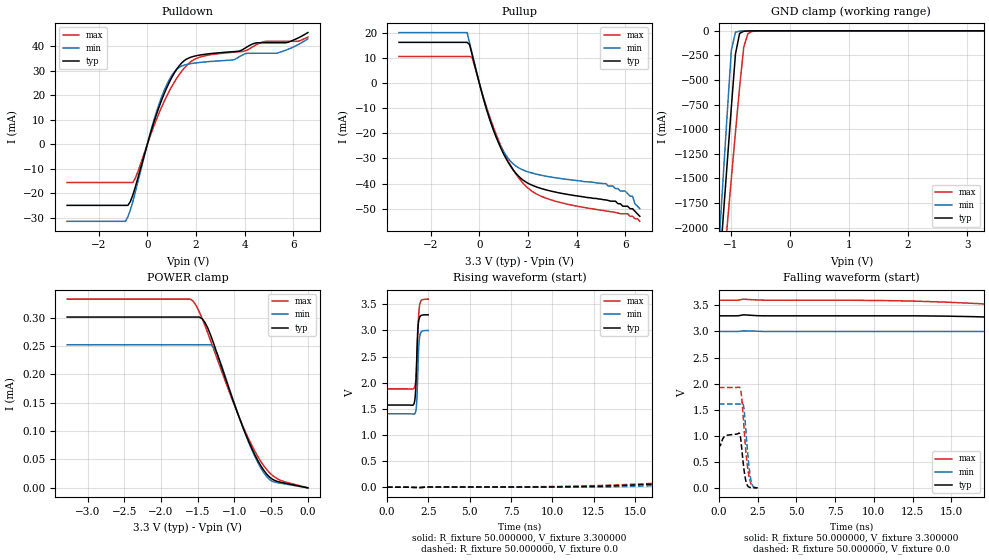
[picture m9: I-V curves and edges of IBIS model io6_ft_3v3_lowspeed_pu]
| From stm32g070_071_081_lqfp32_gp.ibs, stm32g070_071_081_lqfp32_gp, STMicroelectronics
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|   Model io6_ft_3v3_lowspeed_pu
[Model]  io6_ft_3v3_lowspeed_pu
Model_type I/O
Polarity   Non-Inverting
Enable   Active-Low
Vinl =   0.990000V
Vinh =   2.310000V
Vmeas =  1.650000V
Cref =   40.000000pF
Rref =   100.000000M
Vref =   0.0V
C_comp   1.290400pF   1.272500pF   1.305600pF
[Temperature Range]   25.000000   -40.000000   0.125000k
[Pullup Reference]   3.300000V   3.000000V   3.600000V
[Pulldown Reference]   0.0V   0.0V   0.0V
[POWER Clamp Reference]   3.300000V   3.000000V   3.600000V
[GND Clamp Reference]   0.0V   0.0V   0.0V
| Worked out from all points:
|   slope of the pulldown table from 0 to 0.495 V, typ, clamps not added: 31.8 ohm
|   slope of the pullup table from 0 to 0.495 V, typ, clamps not added: 30.4 ohm
|   GND clamp passes 1 mA (typ) near -0.65 V on its own axis
|   rising waveform, R_fixture 50.000000, V_fixture 3.300000: 20-80 % time 114ps typ, 109ps min, 129ps max; typ from 1.57 V to 3.3 V
|   rising waveform, R_fixture 50.000000, V_fixture 0.0: 20-80 % time 45.7ns typ, 40.3ns min, 56.9ns max; typ from 0.002 V to 1.8 V
|   falling waveform, R_fixture 50.000000, V_fixture 3.300000: 20-80 % time 40.8ns typ, 40.4ns min, 43.6ns max; typ from 3.3 V to 1.57 V
|   falling waveform, R_fixture 50.000000, V_fixture 0.0: 20-80 % time 1.61ns typ, 288ps min, 331ps max; typ from 1.8 V to 0.002 V
[Pulldown]
|Voltage   I(typ)   I(min)   I(max)
-3.3V     -25.03mA   -31.54mA   -15.7mA
-900mV    -25.03mA   -31.54mA   -15.7mA
-700mV    -23.48mA   -26.95mA   -15.7mA
-500mV    -17.69mA   -19.75mA   -14.07mA
100mV     3.479mA    3.853mA    2.862mA
500mV     15.71mA    16.96mA    13.17mA
900mV     25.22mA    26.33mA    21.66mA
1.3V      31.91mA    31.32mA    28.29mA
2.2V      36.48mA    33.43mA    35.69mA
4.1V      39.76mA    37.15mA    38.42mA
5.3V      41.43mA    37.15mA    42.02mA
6.6V      45.6mA     43.04mA    43.74mA
[Pullup]
|Voltage   I(typ)   I(min)   I(max)
-3.3V     16.16mA    20.05mA    10.53mA
-500mV    16.16mA    20.05mA    10.53mA
-400mV    15.28mA    16.06mA    10.53mA
-300mV    11.46mA    11.98mA    10.27mA
400mV     -13.51mA   -13.75mA   -12.62mA
800mV     -24.01mA   -23.65mA   -23mA
1.3V      -33.26mA   -31.25mA   -32.99mA
1.9V      -39.28mA   -34.97mA   -40.88mA
2.6V      -42.11mA   -36.79mA   -45.26mA
5.2V      -46.5mA    -40mA      -50.9mA
6.3V      -50mA      -45mA      -53mA
6.6V      -53mA      -50mA      -55mA
[GND_clamp]
|Voltage   I(typ)   I(min)   I(max)
-3.3V     -9.61A     -9.635A    -9.699A
-1.2V     -2.493A    -2.184A    -2.958A
-1.13V    -1.917A    -1.512A    -2.469A
-1.06V    -1.345A    -845.6mA   -1.983A
-990mV    -779.8mA   -200.2mA   -1.503A
-920mV    -235.5mA   -14.18mA   -1.03A
-850mV    -26.06mA   -3.338mA   -574.2mA
-780mV    -4.499mA   -1.808mA   -166.4mA
-710mV    -1.722mA   -869.6uA   -29.45mA
-640mV    -806.7uA   -283.7uA   -6.281mA
3.28V     0A         0A         0A
[POWER_clamp]
|Voltage   I(typ)   I(min)   I(max)
-3.28V    300.8uA    252uA      332.4uA
-1.6V     300.8uA    252uA      332.4uA
-1.56V    300.8uA    252uA      328.4uA
-1.44V    297.9uA    252uA      298.3uA
-1.36V    280.4uA    252uA      271.4uA
-1.28V    252.9uA    246.9uA    243.1uA
-1.2V     222.5uA    224.3uA    214.5uA
-920mV    118.6uA    118.8uA    119.5uA
-680mV    47.6uA     44.33uA    54.63uA
-560mV    24.08uA    19.48uA    32.08uA
-480mV    14.89uA    11.29uA    21.67uA
0V        0A         0A         0A
[Ramp]
| variable   typ   min   max
dV/dt_r  1.07498/45.58410n   0.96348/40.27532n   1.14311/56.84670n
dV/dt_f  1.02906/40.72304n   0.95214/40.30338n   1.02300/43.52075n
R_load = 50.000000
[Rising Waveform]
R_fixture= 50.000000
V_fixture= 3.300000
V_fixture_min= 3.000000
V_fixture_max= 3.600000
|time   V(typ)   V(min)   V(max)
0s        1.573V     1.405V     1.883V
1.542ns   1.569V     1.403V     1.88V
1.657ns   1.623V     1.402V     1.909V
1.727ns   1.834V     1.439V     2.003V
1.792ns   2.389V     1.602V     2.299V
1.852ns   2.94V      2.067V     2.806V
1.917ns   3.184V     2.655V     3.297V
1.967ns   3.248V     2.857V     3.47V
2.052ns   3.284V     2.964V     3.565V
2.492ns   3.3V       3V         3.6V
[Rising Waveform]
R_fixture= 50.000000
V_fixture= 0.0
V_fixture_min= 0.0
V_fixture_max= 0.0
|time   V(typ)   V(min)   V(max)
0s        1.56mV     1.094mV    2.417mV
11.61ns   10.68mV    3.645mV    23.48mV
17.62ns   88.61mV    52.9mV     98.96mV
44.84ns   851.3mV    812.6mV    747.3mV
54.45ns   1.091V     1.044V     978.6mV
68.47ns   1.36V      1.284V     1.26V
84.08ns   1.555V     1.442V     1.498V
105.3ns   1.69V      1.542V     1.707V
127.3ns   1.751V     1.582V     1.819V
199.4ns   1.797V     1.608V     1.925V
[Falling Waveform]
R_fixture= 50.000000
V_fixture= 3.300000
V_fixture_min= 3.000000
V_fixture_max= 3.600000
|time   V(typ)   V(min)   V(max)
0s        3.3V       3V         3.6V
14.41ns   3.295V     3V         3.565V
25.63ns   3.13V      2.935V     3.347V
33.63ns   2.914V     2.765V     3.133V
61.66ns   2.14V      2.026V     2.421V
73.67ns   1.907V     1.78V      2.211V
84.08ns   1.787V     1.641V     2.1V
102.9ns   1.683V     1.52V      1.998V
126.5ns   1.624V     1.456V     1.939V
199.4ns   1.573V     1.405V     1.883V
[Falling Waveform]
R_fixture= 50.000000
V_fixture= 0.0
V_fixture_min= 0.0
V_fixture_max= 0.0
|time   V(typ)   V(min)   V(max)
0s        1.797V     1.608V     1.925V
5.005ps   1.178V     1.608V     1.925V
10.01ps   1.056V     1.608V     1.925V
60.06ps   812.1mV    1.608V     1.925V
395.4ps   994.2mV    1.608V     1.925V
1.371ns   1.009V     1.608V     1.91V
1.602ns   394.3mV    1.554V     1.23V
1.917ns   20.42mV    489.1mV    266.2mV
2.142ns   3.955mV    63.15mV    39.1mV
2.492ns   1.56mV     1.094mV    2.417mV
